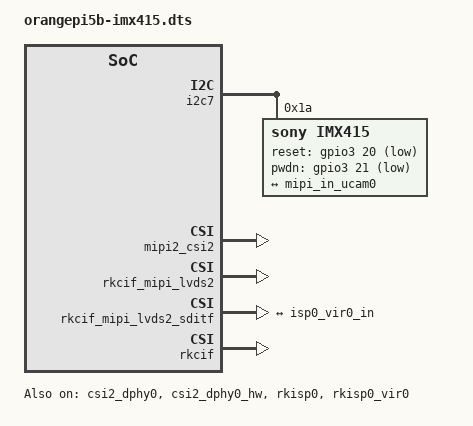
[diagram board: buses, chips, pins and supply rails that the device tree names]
/dts-v1/;
/plugin/;
/ {
    fragment@0 {
        target = <&i2c7>;
        __overlay__ {
            status = "okay";
            #address-cells = <1>;
            #size-cells = <0>;
            imx415: imx415@1a {
                compatible = "sony,imx415";
                reg = <0x1a>;
                status = "okay";
                clocks = <&cru 258>;
                clock-names = "xvclk";
                pinctrl-names = "default";
                pinctrl-0 = <&mipim0_camera3_clk>;
                reset-gpios = <&gpio3 20 1>;
                pwdn-gpios = <&gpio3 21 1>;
                rockchip,camera-module-index = <0>;
                rockchip,camera-module-facing = "back";
                rockchip,camera-module-name = "CMK-OT2022-PX1";
                rockchip,camera-module-lens-name = "IR0147-50IRC-8M-F20";
                port {
                    imx415_out: endpoint {
                        remote-endpoint = <&mipi_in_ucam0>;
                        data-lanes = <1 2 3 4>;
                    };
                };
            };
        };
    };

    fragment@1 { target = <&csi2_dphy0>; __overlay__ { status = "okay"; ports { port { mipi_in_ucam0: endpoint { remote-endpoint = <&imx415_out>; data-lanes = <1 2 3 4>; }; }; }; }; };
    fragment@2 { target = <&csi2_dphy0_hw>; __overlay__ { status = "okay"; }; };
    fragment@3 { target = <&mipi2_csi2>; __overlay__ { status = "okay"; }; };
    fragment@4 { target = <&rkcif_mipi_lvds2>; __overlay__ { status = "okay"; }; };
    fragment@5 { target = <&rkcif_mipi_lvds2_sditf>; __overlay__ { status = "okay"; }; };
    fragment@6 { target = <&rkcif>; __overlay__ { status = "okay"; }; };
    fragment@7 { target = <&rkcif_mmu>; __overlay__ { status = "okay"; }; };
    fragment@8 { target = <&rkisp0>; __overlay__ { status = "okay"; }; };
    fragment@9 { target = <&isp0_mmu>; __overlay__ { status = "okay"; }; };

    fragment@10 {
        target = <&rkisp0_vir0>;
        __overlay__ {
            status = "okay";
            port {
                #address-cells = <1>;
                #size-cells = <0>;
                isp0_vir0_in: endpoint@0 {
                    reg = <0>;
                    remote-endpoint = <&mipi_lvds2_sditf>;
                };
            };
        };
    };

    fragment@11 {
        target = <&rkcif_mipi_lvds2_sditf>;
        __overlay__ {
            status = "okay";
            port {
                mipi_lvds2_sditf: endpoint {
                    remote-endpoint = <&isp0_vir0_in>;
                    bus-type = <3>;
                };
            };
        };
    };
};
